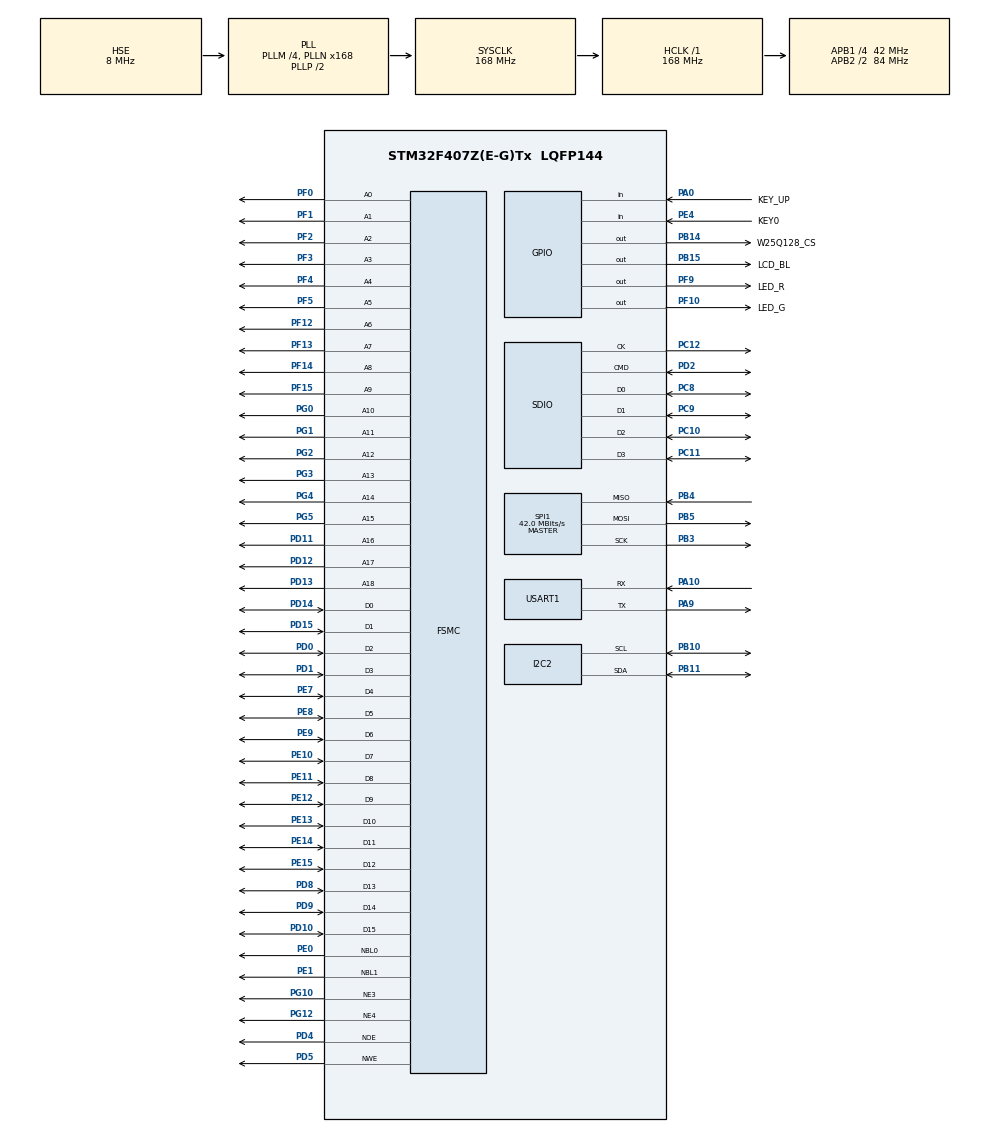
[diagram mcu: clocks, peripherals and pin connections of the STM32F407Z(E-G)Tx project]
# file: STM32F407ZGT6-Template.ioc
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FSMC.AddressSetupTime3=0
FSMC.AddressSetupTime4=2
FSMC.BusTurnAroundDuration3=0
FSMC.BusTurnAroundDuration4=0
FSMC.DataSetupTime3=8
FSMC.DataSetupTime4=16
FSMC.ExtendedAddressSetupTime4=4
FSMC.ExtendedBusTurnAroundDuration4=0
FSMC.ExtendedDataSetupTime4=9
FSMC.ExtendedMode4=FSMC_EXTENDED_MODE_ENABLE
FSMC.WriteOperation3=FSMC_WRITE_OPERATION_ENABLE
I2C2.I2C_Mode=I2C_Fast
Mcu.Family=STM32F4
Mcu.Name=STM32F407Z(E-G)Tx
Mcu.Package=LQFP144
NVIC.PriorityGroup=NVIC_PRIORITYGROUP_4
NVIC.TIM7_IRQn=true\:0\:0\:false\:false\:true\:true\:true\:true
NVIC.USART1_IRQn=true\:0\:0\:false\:false\:true\:true\:true\:true
PA0-WKUP.GPIO_Label=KEY_UP
PA0-WKUP.GPIO_PuPd=GPIO_PULLDOWN
PA0-WKUP.Signal=GPIO_Input
PA10.Mode=Asynchronous
PA10.Signal=USART1_RX
PA13.Mode=Serial_Wire
PA13.Signal=SYS_JTMS-SWDIO
PA14.Mode=Serial_Wire
PA14.Signal=SYS_JTCK-SWCLK
PA9.Mode=Asynchronous
PA9.Signal=USART1_TX
PB10.Mode=I2C
PB10.Signal=I2C2_SCL
PB11.Mode=I2C
PB11.Signal=I2C2_SDA
PB14.GPIO_Label=W25Q128_CS
PB14.GPIO_Speed=GPIO_SPEED_FREQ_HIGH
PB14.PinState=GPIO_PIN_SET
PB14.Signal=GPIO_Output
PB15.GPIO_Label=LCD_BL
PB15.Signal=GPIO_Output
PB3.Mode=Full_Duplex_Master
PB3.Signal=SPI1_SCK
PB4.Mode=Full_Duplex_Master
PB4.Signal=SPI1_MISO
PB5.Mode=Full_Duplex_Master
PB5.Signal=SPI1_MOSI
PC10.Mode=SD_4_bits_Wide_bus
PC10.Signal=SDIO_D2
PC11.Mode=SD_4_bits_Wide_bus
PC11.Signal=SDIO_D3
PC12.Mode=SD_4_bits_Wide_bus
PC12.Signal=SDIO_CK
PC8.Mode=SD_4_bits_Wide_bus
PC8.Signal=SDIO_D0
PC9.Mode=SD_4_bits_Wide_bus
PC9.Signal=SDIO_D1
PD0.Signal=FSMC_D2_DA2
PD1.Signal=FSMC_D3_DA3
PD10.Signal=FSMC_D15_DA15
PD11.Signal=FSMC_A16_CLE
PD12.Signal=FSMC_A17_ALE
PD13.Signal=FSMC_A18
PD14.Signal=FSMC_D0_DA0
PD15.Signal=FSMC_D1_DA1
PD2.Mode=SD_4_bits_Wide_bus
PD2.Signal=SDIO_CMD
PD4.Signal=FSMC_NOE
PD5.Signal=FSMC_NWE
PD8.Signal=FSMC_D13_DA13
PD9.Signal=FSMC_D14_DA14
PE0.Signal=FSMC_NBL0
PE1.Signal=FSMC_NBL1
PE10.Signal=FSMC_D7_DA7
PE11.Signal=FSMC_D8_DA8
PE12.Signal=FSMC_D9_DA9
PE13.Signal=FSMC_D10_DA10
PE14.Signal=FSMC_D11_DA11
PE15.Signal=FSMC_D12_DA12
PE4.GPIO_Label=KEY0
PE4.GPIO_PuPd=GPIO_PULLDOWN
PE4.Signal=GPIO_Input
PE7.Signal=FSMC_D4_DA4
PE8.Signal=FSMC_D5_DA5
PE9.Signal=FSMC_D6_DA6
PF0.Signal=FSMC_A0
PF1.Signal=FSMC_A1
PF10.GPIO_Label=LED_G
PF10.GPIO_PuPd=GPIO_PULLUP
PF10.PinState=GPIO_PIN_SET
PF10.Signal=GPIO_Output
PF12.Signal=FSMC_A6
PF13.Signal=FSMC_A7
PF14.Signal=FSMC_A8
PF15.Signal=FSMC_A9
PF2.Signal=FSMC_A2
PF3.Signal=FSMC_A3
PF4.Signal=FSMC_A4
PF5.Signal=FSMC_A5
PF9.GPIO_Label=LED_R
PF9.GPIO_PuPd=GPIO_PULLUP
PF9.PinState=GPIO_PIN_SET
PF9.Signal=GPIO_Output
PG0.Signal=FSMC_A10
PG1.Signal=FSMC_A11
PG10.Mode=NorPsramChipSelect3_3
PG10.Signal=FSMC_NE3
PG12.Mode=NorPsramChipSelect4_4
PG12.Signal=FSMC_NE4
PG2.Signal=FSMC_A12
PG3.Signal=FSMC_A13
PG4.Signal=FSMC_A14
PG5.Signal=FSMC_A15
PH0-OSC_IN.Mode=HSE-External-Oscillator
PH0-OSC_IN.Signal=RCC_OSC_IN
PH1-OSC_OUT.Mode=HSE-External-Oscillator
PH1-OSC_OUT.Signal=RCC_OSC_OUT
ProjectManager.HeapSize=0x200
ProjectManager.StackSize=0x400
ProjectManager.TargetToolchain=MDK-ARM V5.27
RCC.48MHZClocksFreq_Value=48000000
RCC.AHBFreq_Value=168000000
RCC.APB1CLKDivider=RCC_HCLK_DIV4
RCC.APB1Freq_Value=42000000
RCC.APB1TimFreq_Value=84000000
RCC.APB2CLKDivider=RCC_HCLK_DIV2
RCC.APB2Freq_Value=84000000
RCC.APB2TimFreq_Value=168000000
RCC.CortexFreq_Value=168000000
RCC.FLatency=FLASH_LATENCY_5
RCC.HCLKFreq_Value=168000000
RCC.HSE_VALUE=8000000
RCC.HSI_VALUE=16000000
RCC.LSE_VALUE=32768
RCC.PLLM=4
RCC.PLLN=168
RCC.PLLQ=7
RCC.PLLSourceVirtual=RCC_PLLSOURCE_HSE
RCC.SYSCLKFreq_VALUE=168000000
RCC.SYSCLKSource=RCC_SYSCLKSOURCE_PLLCLK
RCC.VCOOutputFreq_Value=336000000
SDIO.ClockDiv=1
SH.FSMC_A0.0=FSMC_A0,19b-a3
SH.FSMC_A1.0=FSMC_A1,19b-a3
SH.FSMC_A10.0=FSMC_A10,19b-a3
SH.FSMC_A11.0=FSMC_A11,19b-a3
SH.FSMC_A12.0=FSMC_A12,19b-a3
SH.FSMC_A13.0=FSMC_A13,19b-a3
SH.FSMC_A14.0=FSMC_A14,19b-a3
SH.FSMC_A15.0=FSMC_A15,19b-a3
SH.FSMC_A16_CLE.0=FSMC_A16,19b-a3
SH.FSMC_A17_ALE.0=FSMC_A17,19b-a3
SH.FSMC_A18.0=FSMC_A18,19b-a3
SH.FSMC_A2.0=FSMC_A2,19b-a3
SH.FSMC_A3.0=FSMC_A3,19b-a3
SH.FSMC_A4.0=FSMC_A4,19b-a3
SH.FSMC_A5.0=FSMC_A5,19b-a3
SH.FSMC_A6.0=FSMC_A6,A6_4
SH.FSMC_A6.1=FSMC_A6,19b-a3
SH.FSMC_A7.0=FSMC_A7,19b-a3
SH.FSMC_A8.0=FSMC_A8,19b-a3
SH.FSMC_A9.0=FSMC_A9,19b-a3
SH.FSMC_D0_DA0.0=FSMC_D0,16b-d4
SH.FSMC_D0_DA0.1=FSMC_D0,16b-d3
SH.FSMC_D10_DA10.0=FSMC_D10,16b-d4
SH.FSMC_D10_DA10.1=FSMC_D10,16b-d3
SH.FSMC_D11_DA11.0=FSMC_D11,16b-d4
SH.FSMC_D11_DA11.1=FSMC_D11,16b-d3
SH.FSMC_D12_DA12.0=FSMC_D12,16b-d4
SH.FSMC_D12_DA12.1=FSMC_D12,16b-d3
SH.FSMC_D13_DA13.0=FSMC_D13,16b-d4
SH.FSMC_D13_DA13.1=FSMC_D13,16b-d3
SH.FSMC_D14_DA14.0=FSMC_D14,16b-d4
SH.FSMC_D14_DA14.1=FSMC_D14,16b-d3
SH.FSMC_D15_DA15.0=FSMC_D15,16b-d4
SH.FSMC_D15_DA15.1=FSMC_D15,16b-d3
SH.FSMC_D1_DA1.0=FSMC_D1,16b-d4
SH.FSMC_D1_DA1.1=FSMC_D1,16b-d3
SH.FSMC_D2_DA2.0=FSMC_D2,16b-d4
SH.FSMC_D2_DA2.1=FSMC_D2,16b-d3
SH.FSMC_D3_DA3.0=FSMC_D3,16b-d4
SH.FSMC_D3_DA3.1=FSMC_D3,16b-d3
SH.FSMC_D4_DA4.0=FSMC_D4,16b-d4
SH.FSMC_D4_DA4.1=FSMC_D4,16b-d3
SH.FSMC_D5_DA5.0=FSMC_D5,16b-d4
SH.FSMC_D5_DA5.1=FSMC_D5,16b-d3
SH.FSMC_D6_DA6.0=FSMC_D6,16b-d4
SH.FSMC_D6_DA6.1=FSMC_D6,16b-d3
SH.FSMC_D7_DA7.0=FSMC_D7,16b-d4
SH.FSMC_D7_DA7.1=FSMC_D7,16b-d3
SH.FSMC_D8_DA8.0=FSMC_D8,16b-d4
SH.FSMC_D8_DA8.1=FSMC_D8,16b-d3
SH.FSMC_D9_DA9.0=FSMC_D9,16b-d4
SH.FSMC_D9_DA9.1=FSMC_D9,16b-d3
SH.FSMC_NBL0.0=FSMC_NBL0,2ByteEnable3
SH.FSMC_NBL1.0=FSMC_NBL1,2ByteEnable3
SH.FSMC_NOE.0=FSMC_NOE,Lcd4
SH.FSMC_NOE.1=FSMC_NOE,Sram3
SH.FSMC_NWE.0=FSMC_NWE,Lcd4
SH.FSMC_NWE.1=FSMC_NWE,Sram3
SPI1.CalculateBaudRate=42.0 MBits/s
SPI1.Direction=SPI_DIRECTION_2LINES
SPI1.Mode=SPI_MODE_MASTER
SPI1.VirtualType=VM_MASTER
TIM6.Period=10000
TIM6.Prescaler=84
TIM7.Period=10000-1
TIM7.Prescaler=8400-1
USART1.VirtualMode=VM_ASYNC
VP_RNG_VS_RNG.Mode=RNG_Activate
VP_TIM6_VS_ClockSourceINT.Mode=Enable_Timer
VP_TIM7_VS_ClockSourceINT.Mode=Enable_Timer
board=custom

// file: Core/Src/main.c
/* USER CODE BEGIN Header */
/**
 ******************************************************************************
 * @file           : main.c
 * @brief          : Main program body
 ******************************************************************************
 * @attention
 *
 * Copyright (c) 2023 STMicroelectronics.
 * All rights reserved.
 *
 * This software is licensed under terms that can be found in the LICENSE file
 * in the root directory of this software component.
 * If no LICENSE file comes with this software, it is provided AS-IS.
 *
 ******************************************************************************
 */
/* USER CODE END Header */
#include "main.h"
#include "i2c.h"
#include "rng.h"
#include "sdio.h"
#include "spi.h"
#include "tim.h"
#include "usart.h"
#include "gpio.h"
#include "fsmc.h"

/* USER CODE BEGIN PV */
uint8_t *log_buf = NULL;
uint8_t *uart1_rec_buf = NULL;
uint8_t shift = 0;
/* USER CODE END PV */

void SystemClock_Config(void);

int main(void)
{

  /* MCU Configuration--------------------------------------------------------*/

  /* Reset of all peripherals, Initializes the Flash interface and the Systick. */
  HAL_Init();

  /* Configure the system clock */
  SystemClock_Config();

  /* Initialize all configured peripherals */
  MX_GPIO_Init();
  MX_USART1_UART_Init();
  MX_TIM7_Init();
  MX_RNG_Init();
  MX_FSMC_Init();
  MX_TIM6_Init();
  MX_SPI1_Init();
  MX_SDIO_SD_Init();
  MX_I2C2_Init();
  /* USER CODE BEGIN 2 */
	my_mem_init(SRAMEX);
  log_buf = mymalloc(SRAMEX, 100);
  uart1_rec_buf = mymalloc(SRAMEX, 500);
  W25QXX_BUFFER = mymalloc(SRAMEX, 4096);
	fs_exfuns_mem_init();

	OLED_Init();
	OLED_Clear(0);
	OLED_Refresh();
	HAL_UARTEx_ReceiveToIdle_IT(&huart1, uart1_rec_buf, 500);
  HAL_TIM_Base_Start_IT(&htim7);

	/* ���ؽ��� */
	f_mount(SDFATFS, "0:", 0);
	f_mount(FLASHFATFS, "1:", 0);

  /* USER CODE END 2 */

  /* Infinite loop */
  /* USER CODE BEGIN WHILE */
  while (1)
  {
	uint8_t key = Get_key_with_undo(20);
	if (key == key_up_down)
	{
		uint16_t memused = my_mem_perused(SRAMEX);
		sprintf((char *)log_buf, "SRAMEX(963Kb) used %d.%01d%%\r\n", memused / 10, memused % 10);
		printf("%s", log_buf);
	}
	if (key == key0_down)
	{
		static uint8_t data = 0;
		uint8_t buf[30];
		sprintf((char*)buf,"���� : %d", data += 1);
		FS_Show_Text(0, 0, 16, buf, 1);
		FS_Show_Text(0, 16, 16, buf, 0);
		FS_Show_Text(0, 32, 16, buf, 1);
		FS_Show_Text(0, 48, 16, buf, 0);
		OLED_Refresh();
	}

	if(shift == 1)
	{
		shift = 0;
		for(uint8_t i=0; i<128; i++)
		{
			FS_Show_Picture(i,0,128,64,uart1_rec_buf, 1024, 0);
			OLED_Refresh();
		}
		HAL_Delay(100);
		for(uint8_t i=0; i<128; i++)
		{
			FS_Show_Picture(128-i,0,128,64,uart1_rec_buf, 1024, 0);
			OLED_Refresh();
		}
	}

	HAL_GPIO_TogglePin(LED_R_GPIO_Port, LED_R_Pin);
    /* USER CODE END WHILE */

  }
}

void SystemClock_Config(void)
{
  RCC_OscInitTypeDef RCC_OscInitStruct = {0};
  RCC_ClkInitTypeDef RCC_ClkInitStruct = {0};

  /** Configure the main internal regulator output voltage
  */
  __HAL_RCC_PWR_CLK_ENABLE();
  __HAL_PWR_VOLTAGESCALING_CONFIG(PWR_REGULATOR_VOLTAGE_SCALE1);

  /** Initializes the RCC Oscillators according to the specified parameters
  * in the RCC_OscInitTypeDef structure.
  */
  RCC_OscInitStruct.OscillatorType = RCC_OSCILLATORTYPE_HSE;
  RCC_OscInitStruct.HSEState = RCC_HSE_ON;
  RCC_OscInitStruct.PLL.PLLState = RCC_PLL_ON;
  RCC_OscInitStruct.PLL.PLLSource = RCC_PLLSOURCE_HSE;
  RCC_OscInitStruct.PLL.PLLM = 4;
  RCC_OscInitStruct.PLL.PLLN = 168;
  RCC_OscInitStruct.PLL.PLLP = RCC_PLLP_DIV2;
  RCC_OscInitStruct.PLL.PLLQ = 7;
  if (HAL_RCC_OscConfig(&RCC_OscInitStruct) != HAL_OK)
  {
    Error_Handler();
  }

  /** Initializes the CPU, AHB and APB buses clocks
  */
  RCC_ClkInitStruct.ClockType = RCC_CLOCKTYPE_HCLK|RCC_CLOCKTYPE_SYSCLK
                              |RCC_CLOCKTYPE_PCLK1|RCC_CLOCKTYPE_PCLK2;
  RCC_ClkInitStruct.SYSCLKSource = RCC_SYSCLKSOURCE_PLLCLK;
  RCC_ClkInitStruct.AHBCLKDivider = RCC_SYSCLK_DIV1;
  RCC_ClkInitStruct.APB1CLKDivider = RCC_HCLK_DIV4;
  RCC_ClkInitStruct.APB2CLKDivider = RCC_HCLK_DIV2;

  if (HAL_RCC_ClockConfig(&RCC_ClkInitStruct, FLASH_LATENCY_5) != HAL_OK)
  {
    Error_Handler();
  }
}

/* USER CODE BEGIN 4 */

/* */
void HAL_TIM_PeriodElapsedCallback(TIM_HandleTypeDef *htim)
{
  /*  */
  if (htim == &htim7)
  {
  }
}

/*  */
void HAL_UARTEx_RxEventCallback(UART_HandleTypeDef *huart, uint16_t Size)
{
  if (huart == &huart1)
  {
    uart1_rec_buf[Size] = '\0';

		shift = 1;
    HAL_UART_Transmit(&huart1, uart1_rec_buf, Size, 0xff);

    HAL_UARTEx_ReceiveToIdle_IT(&huart1, uart1_rec_buf, 500);
  }
}
/* USER CODE END 4 */

void Error_Handler(void)
{
  /* USER CODE BEGIN Error_Handler_Debug */
  /* User can add his own implementation to report the HAL error return state */
  __disable_irq();
  while (1)
  {
    printf("Error_Handler \r\n");
  }
  //	__enable_irq();
  /* USER CODE END Error_Handler_Debug */
}
